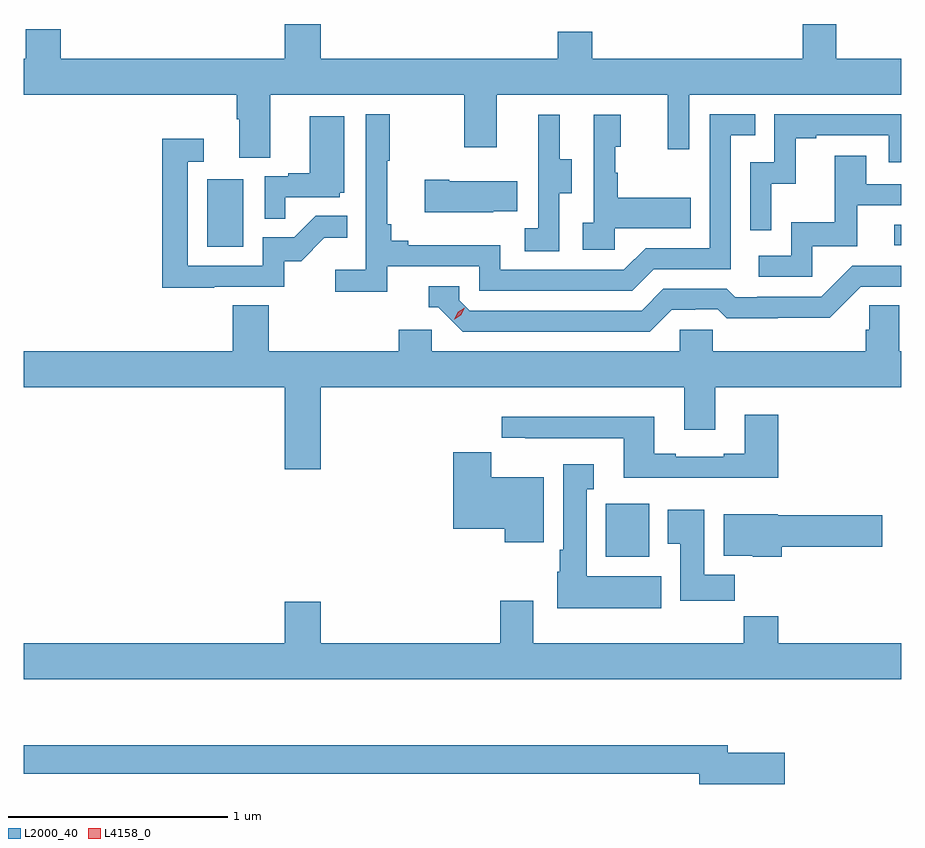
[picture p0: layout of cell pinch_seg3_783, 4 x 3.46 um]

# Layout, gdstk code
import gdstk
lib = gdstk.Library(unit=1e-6, precision=1e-09)
def R(c, l, rs):  # rectangles x0, y0, x1, y1
    for r in rs: c.add(gdstk.rectangle(r[:2], r[2:], *l))
def P(c, l, *ps):  # polygons
    for p in ps: c.add(gdstk.Polygon(p, *l))
L2000_40 = (2000, 40)
L4158_0 = (4158, 0)

pinch_seg3_783 = lib.new_cell('pinch_seg3_783')
R(pinch_seg3_783, L2000_40, [(825.812,710.798,826.009,711.04), (823.994,712.212,824.158,712.519), (827.127,712.218,827.158,712.311)])
P(pinch_seg3_783, L2000_40, [(824.281,712.904),(825.166,712.904),(825.166,712.665),(825.313,712.665),(825.313,712.904),(826.094,712.904),(826.094,712.656),(826.191,712.656),(826.191,712.904),(827.158,712.904),(827.158,713.068),(826.862,713.068),(826.862,713.227),(826.709,713.227),(826.709,713.068),(825.749,713.068),(825.749,713.192),(825.593,713.192),(825.593,713.068),(824.512,713.068),(824.512,713.227),(824.348,713.227),(824.348,713.068),(823.328,713.068),(823.328,713.203),(823.168,713.203),(823.168,713.068),(823.158,713.068),(823.158,712.904),(824.129,712.904),(824.129,712.792),(824.141,712.792),(824.141,712.618),(824.281,712.618)],
  [(824.816,712.122),(825.234,712.122),(825.234,712.011),(825.931,712.011),(826.03,712.11),(826.38,712.11),(826.38,712.719),(826.493,712.719),(826.493,712.815),(826.284,712.815),(826.284,712.206),(825.993,712.206),(825.894,712.107),(825.33,712.107),(825.33,712.219),(824.911,712.219),(824.911,712.238),(824.834,712.238),(824.834,712.315),(824.815,712.315),(824.815,712.603),(824.827,712.603),(824.827,712.816),(824.718,712.816),(824.718,712.108),(824.577,712.108),(824.577,712.006),(824.816,712.006)],
  [(826.566,712.499),(826.676,712.499),(826.676,712.707),(826.771,712.707),(826.771,712.719),(827.1,712.719),(827.1,712.596),(827.158,712.596),(827.158,712.815),(826.578,712.815),(826.578,712.596),(826.47,712.596),(826.47,712.287),(826.566,712.287)],
  [(825.852,712.295),(826.199,712.295),(826.199,712.435),(825.865,712.435),(825.865,712.55),(825.855,712.55),(825.855,712.668),(825.88,712.668),(825.88,712.813),(825.756,712.813),(825.756,712.322),(825.705,712.322),(825.705,712.197),(825.852,712.197)],
  [(825.6,712.456),(825.655,712.456),(825.655,712.611),(825.601,712.611),(825.601,712.813),(825.503,712.813),(825.503,712.599),(825.504,712.599),(825.504,712.295),(825.441,712.295),(825.441,712.192),(825.6,712.192)],
  [(824.351,712.437),(824.598,712.437),(824.598,712.458),(824.62,712.458),(824.62,712.807),(824.462,712.807),(824.462,712.546),(824.363,712.546),(824.363,712.533),(824.256,712.533),(824.256,712.339),(824.351,712.339)],
  [(824.027,712.029),(824.346,712.029),(824.346,712.146),(824.422,712.146),(824.529,712.253),(824.633,712.253),(824.633,712.352),(824.489,712.352),(824.391,712.254),(824.247,712.254),(824.247,712.125),(823.905,712.125),(823.905,712.599),(823.978,712.599),(823.978,712.705),(823.789,712.705),(823.789,712.024),(824.027,712.024)],
  [(826.752,712.215),(826.957,712.215),(826.957,712.401),(827.158,712.401),(827.158,712.497),(826.999,712.497),(826.999,712.627),(826.855,712.627),(826.855,712.324),(826.656,712.324),(826.656,712.17),(826.509,712.17),(826.509,712.074),(826.752,712.074)],
  [(825.299,712.373),(825.407,712.373),(825.407,712.51),(825.097,712.51),(825.097,712.518),(824.985,712.518),(824.985,712.37),(825.299,712.37)],
  [(826.111,711.924),(826.218,711.924),(826.218,711.927),(826.321,711.927),(826.363,711.885),(826.596,711.885),(826.596,711.887),(826.832,711.887),(826.974,712.029),(827.158,712.029),(827.158,712.125),(826.935,712.125),(826.794,711.984),(826.501,711.984),(826.501,711.981),(826.402,711.981),(826.363,712.02),(826.074,712.02),(825.975,711.921),(825.192,711.921),(825.144,711.969),(825.144,712.032),(825.005,712.032),(825.005,711.936),(825.048,711.936),(825.159,711.825),(826.012,711.825)],
  [(827.011,711.944),(827.011,711.834),(826.997,711.834),(826.997,711.736),(826.299,711.736),(826.299,711.834),(826.149,711.834),(826.149,711.736),(825.018,711.736),(825.018,711.834),(824.867,711.834),(824.867,711.736),(824.276,711.736),(824.276,711.944),(824.111,711.944),(824.111,711.736),(823.158,711.736),(823.158,711.572),(824.348,711.572),(824.348,711.198),(824.512,711.198),(824.512,711.572),(826.169,711.572),(826.169,711.378),(826.309,711.378),(826.309,711.572),(827.158,711.572),(827.158,711.736),(827.148,711.736),(827.148,711.944)],
  [(826.598,711.445),(826.445,711.445),(826.445,711.268),(826.349,711.268),(826.349,711.255),(826.129,711.255),(826.129,711.268),(826.033,711.268),(826.033,711.436),(825.336,711.436),(825.336,711.341),(825.445,711.341),(825.445,711.339),(825.893,711.339),(825.893,711.158),(826.598,711.158)],
  [(825.529,711.16),(825.289,711.16),(825.289,711.276),(825.116,711.276),(825.116,710.927),(825.35,710.927),(825.35,710.864),(825.529,710.864)],
  [(826.063,710.71),(825.724,710.71),(825.724,711.107),(825.757,711.107),(825.757,711.22),(825.617,711.22),(825.617,710.83),(825.602,710.83),(825.602,710.73),(825.59,710.73),(825.59,710.564),(826.063,710.564)],
  [(826.4,710.716),(826.261,710.716),(826.261,711.013),(826.094,711.013),(826.094,710.857),(826.151,710.857),(826.151,710.598),(826.4,710.598)],
  [(826.613,710.845),(827.071,710.845),(827.071,710.987),(826.596,710.987),(826.596,710.992),(826.349,710.992),(826.349,710.804),(826.482,710.804),(826.482,710.798),(826.613,710.798)],
  [(827.158,710.404),(826.598,710.404),(826.598,710.528),(826.441,710.528),(826.441,710.404),(825.481,710.404),(825.481,710.599),(825.329,710.599),(825.329,710.404),(824.512,710.404),(824.512,710.593),(824.348,710.593),(824.348,710.404),(823.158,710.404),(823.158,710.24),(827.158,710.24)],
  [(826.627,709.905),(826.366,709.905),(826.366,709.939),(823.158,709.939),(823.158,709.81),(826.238,709.81),(826.238,709.763),(826.627,709.763)])
P(pinch_seg3_783, L4158_0, [(825.121,711.882),(825.121,711.882),(825.138,711.915),(825.169,711.934),(825.169,711.934),(825.169,711.934),(825.153,711.901),(825.122,711.882)])

lib.write_gds('pinch_seg3_783.gds')
